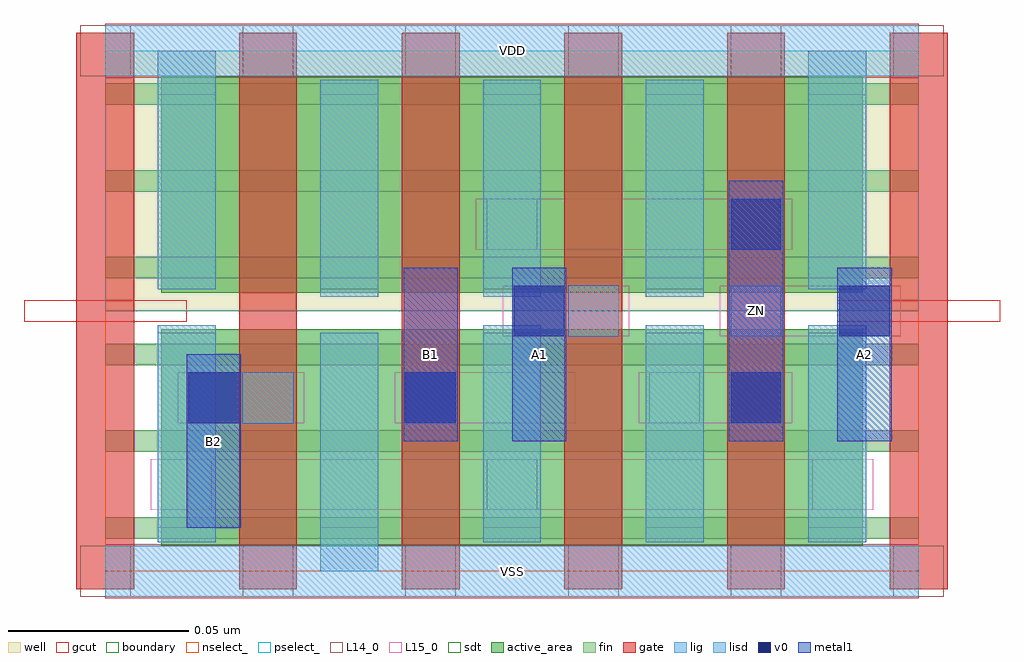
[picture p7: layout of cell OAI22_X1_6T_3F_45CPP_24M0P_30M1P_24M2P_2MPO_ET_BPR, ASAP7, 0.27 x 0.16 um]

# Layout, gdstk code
import gdstk
lib = gdstk.Library(unit=1e-6, precision=2.5e-10)
def R(c, l, rs):  # rectangles x0, y0, x1, y1
    for r in rs: c.add(gdstk.rectangle(r[:2], r[2:], *l))
def A(c, l, x, y, w, h, nx, ny, dx, dy):  # array of equal rectangles
    R(c, l, [(x+i*dx, y+j*dy, x+i*dx+w, y+j*dy+h) for i in range(nx) for j in range(ny)])
well = (1, 0)
fin = (2, 0)
gate = (7, 0)
gcut = (10, 0)
active_area = (11, 0)
nselect_ = (12, 0)
pselect_ = (13, 0)
L14_0 = (14, 0)
L15_0 = (15, 0)
lig = (16, 0)
lisd = (17, 0)
v0 = (18, 0)
metal1 = (19, 0)
sdt = (88, 0)
boundary = (100, 0)

oai22_x1_6t_3f_45cpp_24m = lib.new_cell('OAI22_X1_6T_3F_45CPP_24M0P_30M1P_24M2P_2MPO_ET_BPR')
R(oai22_x1_6t_3f_45cpp_24m, well, [(0,0.072,0.225,0.144)])
A(oai22_x1_6t_3f_45cpp_24m, fin, 0, 0.009, 0.225, 0.006, 1, 6, 0, 0.024)
A(oai22_x1_6t_3f_45cpp_24m, gate, -0.008, -0.005, 0.016, 0.154, 6, 1, 0.045, 0)
R(oai22_x1_6t_3f_45cpp_24m, gcut, [(0,-0.0075,0.225,0.0075), (-0.0225,0.069,0.0225,0.075), (0.2025,0.069,0.2475,0.075), (0,0.1365,0.225,0.1515)])
A(oai22_x1_6t_3f_45cpp_24m, active_area, 0.0155, 0.007, 0.059, 0.06, 4, 2, 0.045, 0.07)
R(oai22_x1_6t_3f_45cpp_24m, nselect_, [(0,0,0.225,0.072)])
R(oai22_x1_6t_3f_45cpp_24m, pselect_, [(0,0.072,0.225,0.144)])
A(oai22_x1_6t_3f_45cpp_24m, L14_0, -0.007, -0.007, 0.014, 0.014, 6, 2, 0.045, 0.144)
A(oai22_x1_6t_3f_45cpp_24m, L14_0, 0.0155, 0.017, 0.014, 0.014, 3, 1, 0.09, 0)
R(oai22_x1_6t_3f_45cpp_24m, L14_0, [(0.038,0.041,0.052,0.055), (0.083,0.041,0.097,0.055), (0.1505,0.041,0.1645,0.055), (0.128,0.065,0.142,0.079), (0.173,0.065,0.187,0.079), (0.1055,0.089,0.1195,0.103)])
R(oai22_x1_6t_3f_45cpp_24m, L15_0, [(0,-0.007,0.225,0.007), (0.0125,0.017,0.2125,0.031), (0.02,0.041,0.055,0.055), (0.08,0.041,0.13,0.055), (0.1475,0.041,0.19,0.055), (0.11,0.065,0.145,0.079), (0.17,0.065,0.22,0.079), (0.1025,0.089,0.19,0.103), (0,0.137,0.225,0.151)])
R(oai22_x1_6t_3f_45cpp_24m, lig, [(0,-0.007,0.225,0.007), (0.038,0.041,0.052,0.055), (0.083,0.041,0.097,0.055), (0.128,0.065,0.142,0.079), (0.173,0.065,0.187,0.079), (0,0.137,0.225,0.151)])
A(oai22_x1_6t_3f_45cpp_24m, lisd, 0.1045, 0.008, 0.016, 0.06, 3, 1, 0.045, 0)
A(oai22_x1_6t_3f_45cpp_24m, lisd, 0.0595, 0.076, 0.016, 0.06, 3, 1, 0.045, 0)
R(oai22_x1_6t_3f_45cpp_24m, lisd, [(0.0595,0,0.0755,0.066), (0.0145,0.008,0.0305,0.068), (0.0145,0.078,0.0305,0.144), (0.1945,0.078,0.2105,0.144)])
R(oai22_x1_6t_3f_45cpp_24m, v0, [(0.023,0.041,0.037,0.055), (0.083,0.041,0.097,0.055), (0.173,0.041,0.187,0.055), (0.113,0.065,0.127,0.079), (0.203,0.065,0.217,0.079), (0.173,0.089,0.187,0.103)])
R(oai22_x1_6t_3f_45cpp_24m, metal1, [(0.0225,0.012,0.0375,0.06), (0.0825,0.036,0.0975,0.084), (0.1125,0.036,0.1275,0.084), (0.1725,0.036,0.1875,0.108), (0.2025,0.036,0.2175,0.084)])
A(oai22_x1_6t_3f_45cpp_24m, sdt, 0.0145, 0.012, 0.016, 0.054, 5, 2, 0.045, 0.066)
R(oai22_x1_6t_3f_45cpp_24m, boundary, [(0,0,0.225,0.144)])
oai22_x1_6t_3f_45cpp_24m.add(gdstk.Label('A2', (0.21,0.06), layer=19, texttype=251))
oai22_x1_6t_3f_45cpp_24m.add(gdstk.Label('ZN', (0.18,0.072), layer=19, texttype=251))
oai22_x1_6t_3f_45cpp_24m.add(gdstk.Label('A1', (0.12,0.06), layer=19, texttype=251))
oai22_x1_6t_3f_45cpp_24m.add(gdstk.Label('B1', (0.09,0.06), layer=19, texttype=251))
oai22_x1_6t_3f_45cpp_24m.add(gdstk.Label('B2', (0.03,0.036), layer=19, texttype=251))
oai22_x1_6t_3f_45cpp_24m.add(gdstk.Label('VDD', (0.1125,0.144), layer=15, texttype=251))
oai22_x1_6t_3f_45cpp_24m.add(gdstk.Label('VSS', (0.1125,0), layer=15, texttype=251))
oai22_x1_6t_3f_45cpp_24m.add(gdstk.Label('VDD', (0.1125,0.144), layer=1, texttype=251))
oai22_x1_6t_3f_45cpp_24m.add(gdstk.Label('VSS', (0.1125,0), layer=3, texttype=251))

lib.write_gds('OAI22_X1_6T_3F_45CPP_24M0P_30M1P_24M2P_2MPO_ET_BPR.gds')
